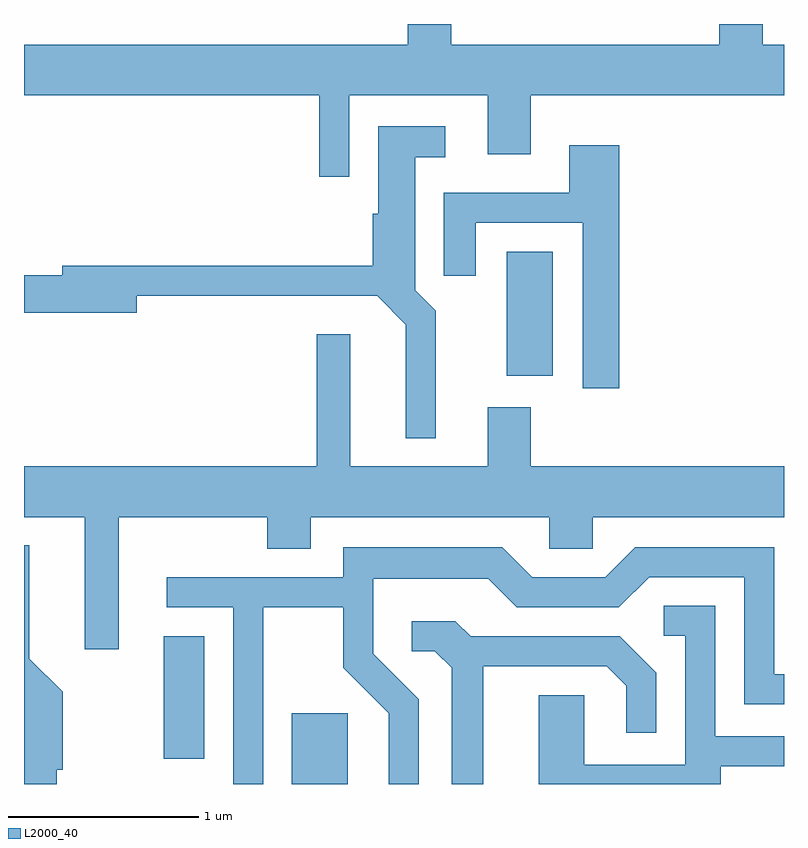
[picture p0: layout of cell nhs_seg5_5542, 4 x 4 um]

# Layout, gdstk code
import gdstk
lib = gdstk.Library(unit=1e-6, precision=1e-09)
def R(c, l, rs):  # rectangles x0, y0, x1, y1
    for r in rs: c.add(gdstk.rectangle(r[:2], r[2:], *l))
def P(c, l, *ps):  # polygons
    for p in ps: c.add(gdstk.Polygon(p, *l))
L2000_40 = (2000, 40)

nhs_seg5_5542 = lib.new_cell('nhs_seg5_5542')
R(nhs_seg5_5542, L2000_40, [(351.021,1442.072,351.314,1442.444), (350.346,1442.206,350.559,1442.849), (352.151,1444.221,352.394,1444.874)])
P(nhs_seg5_5542, L2000_40, [(351.324,1445.696),(352.051,1445.696),(352.051,1445.386),(352.279,1445.386),(352.279,1445.696),(353.611,1445.696),(353.611,1445.964),(353.499,1445.964),(353.499,1446.072),(353.271,1446.072),(353.271,1445.964),(351.859,1445.964),(351.859,1446.072),(351.631,1446.072),(351.631,1445.964),(349.611,1445.964),(349.611,1445.696),(351.166,1445.696),(351.166,1445.268),(351.324,1445.268)],
  [(351.779,1444.562),(351.669,1444.672),(351.669,1445.371),(351.828,1445.371),(351.828,1445.534),(351.476,1445.534),(351.476,1445.074),(351.446,1445.074),(351.446,1444.799),(349.811,1444.799),(349.811,1444.749),(349.611,1444.749),(349.611,1444.551),(350.204,1444.551),(350.204,1444.641),(351.469,1444.641),(351.621,1444.489),(351.621,1443.893),(351.779,1443.893)],
  [(352.744,1445.434),(352.481,1445.434),(352.481,1445.184),(351.821,1445.184),(351.821,1444.748),(351.989,1444.748),(351.989,1445.026),(352.551,1445.026),(352.551,1444.156),(352.744,1444.156)],
  [(350.109,1443.476),(350.891,1443.476),(350.891,1443.311),(351.119,1443.311),(351.119,1443.476),(352.376,1443.476),(352.376,1443.311),(352.604,1443.311),(352.604,1443.476),(353.611,1443.476),(353.611,1443.744),(352.279,1443.744),(352.279,1444.054),(352.051,1444.054),(352.051,1443.744),(351.329,1443.744),(351.329,1444.439),(351.151,1444.439),(351.151,1443.744),(349.611,1443.744),(349.611,1443.476),(349.931,1443.476),(349.931,1442.781),(350.109,1442.781)],
  [(349.784,1442.146),(349.814,1442.146),(349.814,1442.557),(349.639,1442.732),(349.639,1443.328),(349.611,1443.328),(349.611,1442.072),(349.784,1442.072)],
  [(350.869,1443.001),(351.291,1443.001),(351.291,1442.684),(351.531,1442.444),(351.531,1442.072),(351.689,1442.072),(351.689,1442.517),(351.449,1442.757),(351.449,1443.151),(352.054,1443.151),(352.204,1443.001),(352.742,1443.001),(352.902,1443.161),(353.401,1443.161),(353.401,1442.491),(353.611,1442.491),(353.611,1442.649),(353.559,1442.649),(353.559,1443.319),(352.829,1443.319),(352.669,1443.159),(352.287,1443.159),(352.127,1443.319),(351.291,1443.319),(351.291,1443.159),(350.363,1443.159),(350.363,1443.001),(350.711,1443.001),(350.711,1442.072),(350.869,1442.072)],
  [(353.279,1442.166),(353.611,1442.166),(353.611,1442.324),(353.249,1442.324),(353.249,1443.009),(352.978,1443.009),(352.978,1442.851),(353.091,1442.851),(353.091,1442.174),(352.559,1442.174),(352.559,1442.539),(352.321,1442.539),(352.321,1442.072),(353.279,1442.072)],
  [(352.029,1442.691),(352.679,1442.691),(352.781,1442.589),(352.781,1442.343),(352.939,1442.343),(352.939,1442.657),(352.747,1442.849),(351.962,1442.849),(351.882,1442.929),(351.653,1442.929),(351.653,1442.771),(351.774,1442.771),(351.861,1442.684),(351.861,1442.072),(352.029,1442.072)])

lib.write_gds('nhs_seg5_5542.gds')
